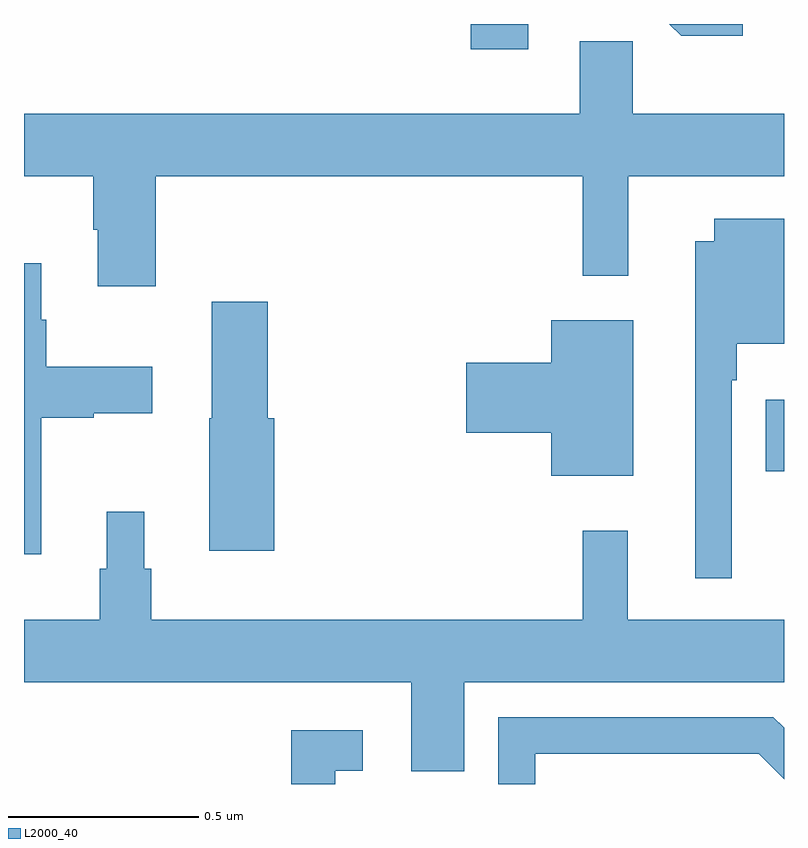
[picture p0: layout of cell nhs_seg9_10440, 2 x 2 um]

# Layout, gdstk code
import gdstk
lib = gdstk.Library(unit=1e-6, precision=1e-09)
def R(c, l, rs):  # rectangles x0, y0, x1, y1
    for r in rs: c.add(gdstk.rectangle(r[:2], r[2:], *l))
def P(c, l, *ps):  # polygons
    for p in ps: c.add(gdstk.Polygon(p, *l))
L2000_40 = (2000, 40)

nhs_seg9_10440 = lib.new_cell('nhs_seg9_10440')
R(nhs_seg9_10440, L2000_40, [(244.952,1182.323,245,1182.511), (244.175,1183.434,244.327,1183.5)])
P(nhs_seg9_10440, L2000_40, [(244.891,1183.5),(244.698,1183.5),(244.729,1183.469),(244.891,1183.469)],
  [(243.347,1183.1),(244.471,1183.1),(244.471,1182.837),(244.59,1182.837),(244.59,1183.1),(245,1183.1),(245,1183.264),(244.602,1183.264),(244.602,1183.454),(244.463,1183.454),(244.463,1183.264),(243,1183.264),(243,1183.1),(243.182,1183.1),(243.182,1182.958),(243.194,1182.958),(243.194,1182.81),(243.347,1182.81)],
  [(244.863,1182.563),(244.876,1182.563),(244.876,1182.659),(245,1182.659),(245,1182.988),(244.817,1182.988),(244.817,1182.928),(244.766,1182.928),(244.766,1182.042),(244.863,1182.042)],
  [(243.046,1182.464),(243.183,1182.464),(243.183,1182.476),(243.337,1182.476),(243.337,1182.598),(243.058,1182.598),(243.058,1182.722),(243.046,1182.722),(243.046,1182.871),(243,1182.871),(243,1182.104),(243.046,1182.104)],
  [(243.659,1182.462),(243.641,1182.462),(243.641,1182.769),(243.494,1182.769),(243.494,1182.462),(243.488,1182.462),(243.488,1182.114),(243.659,1182.114)],
  [(244.603,1182.721),(244.388,1182.721),(244.388,1182.608),(244.164,1182.608),(244.164,1182.425),(244.388,1182.425),(244.388,1182.311),(244.603,1182.311)],
  [(243.335,1182.066),(243.316,1182.066),(243.316,1182.217),(243.218,1182.217),(243.218,1182.066),(243.199,1182.066),(243.199,1181.932),(243,1181.932),(243,1181.768),(244.019,1181.768),(244.019,1181.533),(244.159,1181.533),(244.159,1181.768),(245,1181.768),(245,1181.932),(244.589,1181.932),(244.589,1182.166),(244.471,1182.166),(244.471,1181.932),(243.335,1181.932)],
  [(244.345,1181.58),(244.933,1181.58),(245,1181.512),(245,1181.648),(244.972,1181.676),(244.248,1181.676),(244.248,1181.5),(244.345,1181.5)],
  [(243.819,1181.535),(243.892,1181.535),(243.892,1181.641),(243.703,1181.641),(243.703,1181.5),(243.819,1181.5)])

lib.write_gds('nhs_seg9_10440.gds')
